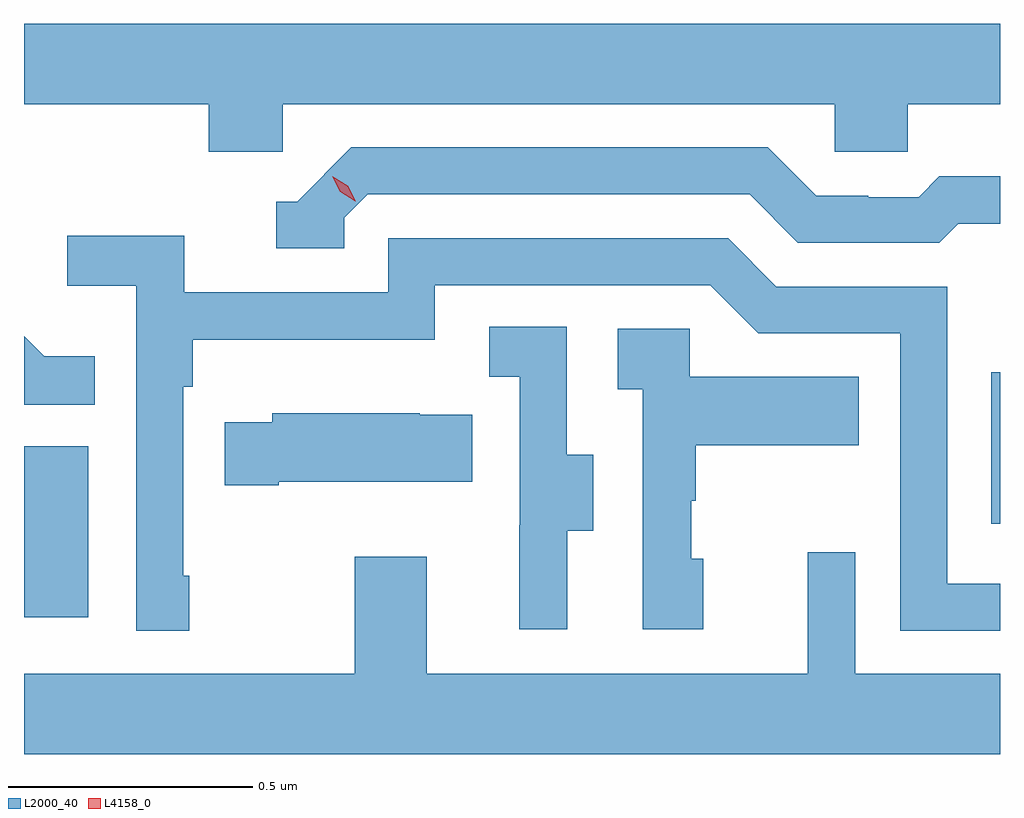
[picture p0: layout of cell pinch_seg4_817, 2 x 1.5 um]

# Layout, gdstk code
import gdstk
lib = gdstk.Library(unit=1e-6, precision=1e-09)
def R(c, l, rs):  # rectangles x0, y0, x1, y1
    for r in rs: c.add(gdstk.rectangle(r[:2], r[2:], *l))
def P(c, l, *ps):  # polygons
    for p in ps: c.add(gdstk.Polygon(p, *l))
L2000_40 = (2000, 40)
L4158_0 = (4158, 0)

pinch_seg4_817 = lib.new_cell('pinch_seg4_817')
R(pinch_seg4_817, L2000_40, [(804.508,809.088,804.64,809.439), (806.49,809.28,806.508,809.59)])
P(pinch_seg4_817, L2000_40, [(805.038,810.14),(806.169,810.14),(806.169,810.042),(806.319,810.042),(806.319,810.14),(806.508,810.14),(806.508,810.304),(804.508,810.304),(804.508,810.14),(804.887,810.14),(804.887,810.042),(805.038,810.042)],
  [(805.164,809.907),(805.212,809.955),(805.995,809.955),(806.094,809.856),(806.383,809.856),(806.422,809.895),(806.508,809.895),(806.508,809.992),(806.383,809.992),(806.341,809.949),(806.238,809.949),(806.238,809.952),(806.131,809.952),(806.032,810.051),(805.179,810.051),(805.068,809.94),(805.025,809.94),(805.025,809.844),(805.164,809.844)],
  [(804.847,809.173),(804.834,809.173),(804.834,809.561),(804.854,809.561),(804.854,809.657),(805.35,809.657),(805.35,809.769),(805.914,809.769),(806.013,809.67),(806.304,809.67),(806.304,809.061),(806.508,809.061),(806.508,809.157),(806.4,809.157),(806.4,809.766),(806.05,809.766),(805.951,809.865),(805.254,809.865),(805.254,809.754),(804.836,809.754),(804.836,809.87),(804.597,809.87),(804.597,809.768),(804.738,809.768),(804.738,809.061),(804.847,809.061)],
  [(805.621,809.266),(805.675,809.266),(805.675,809.421),(805.62,809.421),(805.62,809.684),(805.461,809.684),(805.461,809.581),(805.524,809.581),(805.524,809.277),(805.523,809.277),(805.523,809.064),(805.621,809.064)],
  [(805.9,809.208),(805.875,809.208),(805.875,809.327),(805.885,809.327),(805.885,809.441),(806.219,809.441),(806.219,809.581),(805.872,809.581),(805.872,809.679),(805.725,809.679),(805.725,809.555),(805.776,809.555),(805.776,809.064),(805.9,809.064)],
  [(804.653,809.623),(804.549,809.623),(804.508,809.664),(804.508,809.525),(804.509,809.524),(804.653,809.524)],
  [(805.03,809.366),(805.427,809.366),(805.427,809.503),(805.319,809.503),(805.319,809.506),(805.017,809.506),(805.017,809.488),(804.919,809.488),(804.919,809.359),(805.03,809.359)],
  [(806.508,808.972),(806.211,808.972),(806.211,809.221),(806.114,809.221),(806.114,808.972),(805.333,808.972),(805.333,809.212),(805.186,809.212),(805.186,808.972),(804.508,808.972),(804.508,808.808),(806.508,808.808)])
P(pinch_seg4_817, L4158_0, [(805.187,809.941),(805.156,809.96),(805.14,809.992),(805.14,809.992),(805.14,809.992),(805.171,809.973),(805.188,809.941),(805.188,809.941)])

lib.write_gds('pinch_seg4_817.gds')
